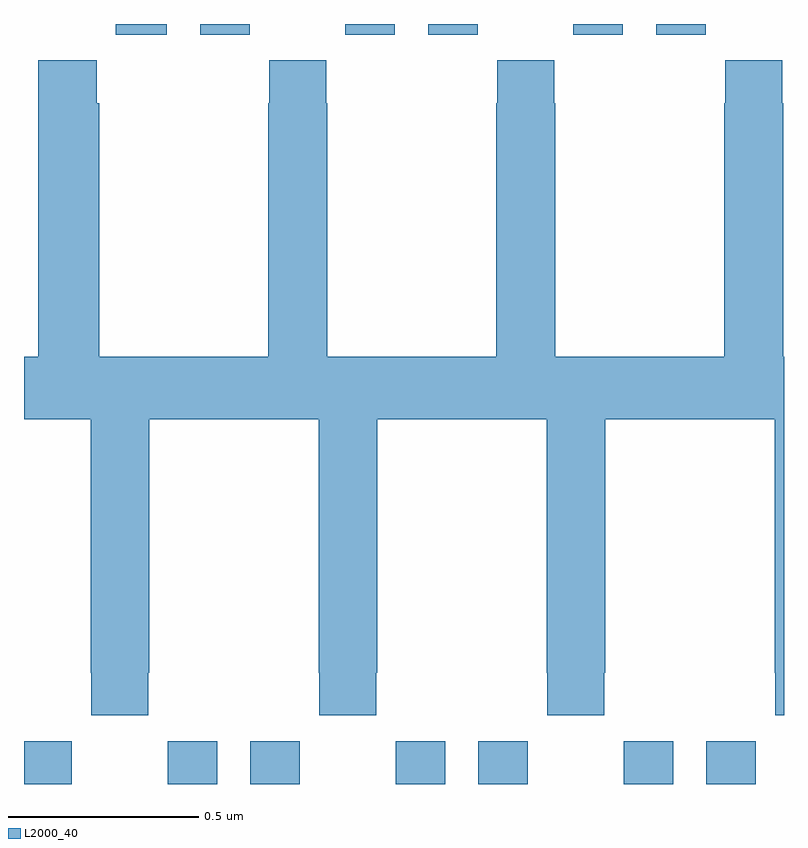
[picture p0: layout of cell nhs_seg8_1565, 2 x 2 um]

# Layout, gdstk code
import gdstk
lib = gdstk.Library(unit=1e-6, precision=1e-09)
def R(c, l, rs):  # rectangles x0, y0, x1, y1
    for r in rs: c.add(gdstk.rectangle(r[:2], r[2:], *l))
def P(c, l, *ps):  # polygons
    for p in ps: c.add(gdstk.Polygon(p, *l))
L2000_40 = (2000, 40)

nhs_seg8_1565 = lib.new_cell('nhs_seg8_1565')
R(nhs_seg8_1565, L2000_40, [(132,1088.9,132.126,1089.013), (132.378,1088.9,132.508,1089.013), (132.596,1088.9,132.726,1089.013), (132.978,1088.9,133.108,1089.013), (133.196,1088.9,133.326,1089.013), (133.578,1088.9,133.708,1089.013), (133.796,1088.9,133.926,1089.013), (132.242,1090.872,132.376,1090.9), (132.464,1090.872,132.594,1090.9), (132.846,1090.872,132.976,1090.9), (133.064,1090.872,133.194,1090.9), (133.446,1090.872,133.576,1090.9), (133.664,1090.872,133.794,1090.9)])
P(nhs_seg8_1565, L2000_40, [(132.327,1089.193),(132.33,1089.193),(132.33,1089.86),(132.775,1089.86),(132.775,1089.193),(132.777,1089.193),(132.777,1089.081),(132.927,1089.081),(132.927,1089.193),(132.93,1089.193),(132.93,1089.86),(133.375,1089.86),(133.375,1089.193),(133.377,1089.193),(133.377,1089.081),(133.527,1089.081),(133.527,1089.193),(133.53,1089.193),(133.53,1089.86),(133.975,1089.86),(133.975,1089.193),(133.977,1089.193),(133.977,1089.081),(134,1089.081),(134,1090.024),(133.998,1090.024),(133.998,1090.691),(133.995,1090.691),(133.995,1090.804),(133.845,1090.804),(133.845,1090.691),(133.843,1090.691),(133.843,1090.024),(133.398,1090.024),(133.398,1090.691),(133.395,1090.691),(133.395,1090.804),(133.245,1090.804),(133.245,1090.691),(133.243,1090.691),(133.243,1090.024),(132.798,1090.024),(132.798,1090.691),(132.795,1090.691),(132.795,1090.804),(132.645,1090.804),(132.645,1090.691),(132.643,1090.691),(132.643,1090.024),(132.198,1090.024),(132.198,1090.691),(132.191,1090.691),(132.191,1090.804),(132.038,1090.804),(132.038,1090.024),(132,1090.024),(132,1089.86),(132.175,1089.86),(132.175,1089.193),(132.177,1089.193),(132.177,1089.081),(132.327,1089.081)])

lib.write_gds('nhs_seg8_1565.gds')
